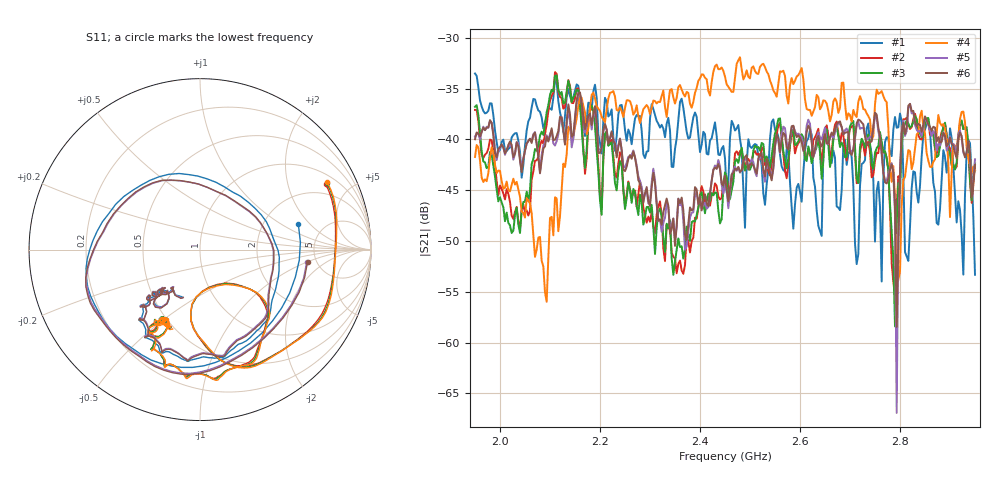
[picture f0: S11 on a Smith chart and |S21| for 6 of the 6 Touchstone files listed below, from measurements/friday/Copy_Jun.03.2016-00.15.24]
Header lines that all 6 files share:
!Agilent N9923A: A.07.32
!Model: N9923A
!Serial: MY52412257
!GPS Latitude:
!GPS Longitude:
!GPS TimeStamp: 0001-01-01 00:00:00Z
!GPS Seconds Since Last Read: 0
!Correction: S11(ON U)S21(ON U)S12(ON U)S22(ON U)
!S2P File: Measurements:S11,S21,S12,S22:
# Hz S DB R 50
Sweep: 1.95 GHz to 2.95 GHz
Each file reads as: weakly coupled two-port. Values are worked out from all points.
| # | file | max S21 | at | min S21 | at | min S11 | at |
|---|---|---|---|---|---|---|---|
| 1 | AutoSave34.s2p | -33.51 dB | 1.95 GHz | -54.0 dB | 2.763 GHz | -11.0 dB | 2.91 GHz |
| 2 | AutoSave37.s2p | -33.37 dB | 2.11 GHz | -55.4 dB | 2.79 GHz | -12.9 dB | 2.11 GHz |
| 3 | AutoSave38.s2p | -33.68 dB | 2.113 GHz | -58.4 dB | 2.79 GHz | -12.8 dB | 2.113 GHz |
| 4 | AutoSave312.s2p | -31.91 dB | 2.48 GHz | -56.0 dB | 2.093 GHz | -12.7 dB | 2.11 GHz |
| 5 | AutoSave313.s2p | -35.55 dB | 2.16 GHz | -66.9 dB | 2.793 GHz | -11.5 dB | 2.903 GHz |
| 6 | AutoSave315.s2p | -35.37 dB | 2.16 GHz | -58.5 dB | 2.793 GHz | -11.4 dB | 2.903 GHz |
